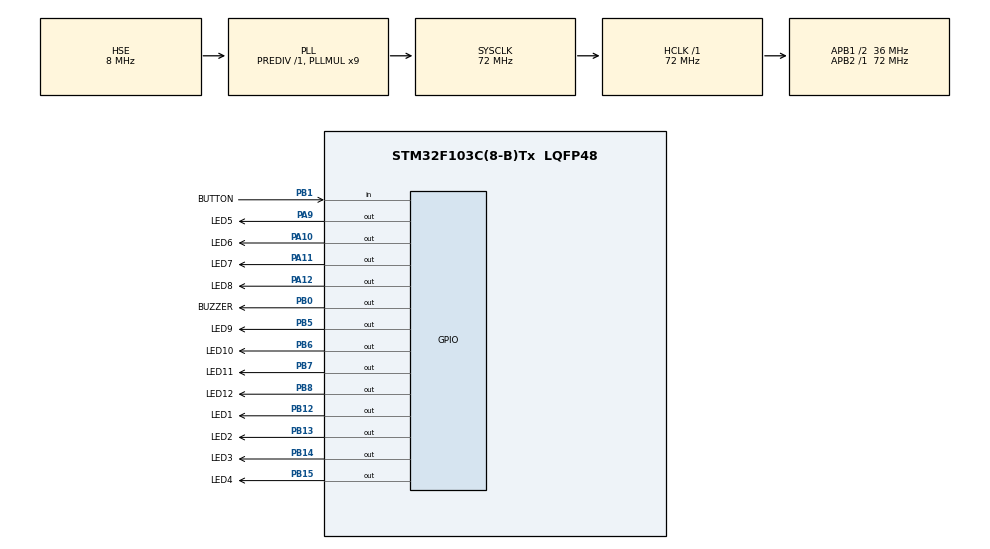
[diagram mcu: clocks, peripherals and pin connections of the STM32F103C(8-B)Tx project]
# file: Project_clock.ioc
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Mcu.Family=STM32F1
Mcu.Name=STM32F103C(8-B)Tx
Mcu.Package=LQFP48
NVIC.PriorityGroup=NVIC_PRIORITYGROUP_4
NVIC.TIM2_IRQn=true\:0\:0\:false\:false\:true\:true\:true
PA10.GPIO_Label=LED6
PA10.GPIO_PuPd=GPIO_PULLDOWN
PA10.Signal=GPIO_Output
PA11.GPIO_Label=LED7
PA11.GPIO_PuPd=GPIO_PULLDOWN
PA11.Signal=GPIO_Output
PA12.GPIO_Label=LED8
PA12.GPIO_PuPd=GPIO_PULLDOWN
PA12.Signal=GPIO_Output
PA13.Mode=Serial_Wire
PA13.Signal=SYS_JTMS-SWDIO
PA14.Mode=Serial_Wire
PA14.Signal=SYS_JTCK-SWCLK
PA9.GPIO_Label=LED5
PA9.GPIO_PuPd=GPIO_PULLDOWN
PA9.Signal=GPIO_Output
PB0.GPIO_Label=BUZZER
PB0.Signal=GPIO_Output
PB1.GPIO_Label=BUTTON
PB1.GPIO_PuPd=GPIO_PULLDOWN
PB1.Signal=GPIO_Input
PB12.GPIO_Label=LED1
PB12.GPIO_PuPd=GPIO_PULLDOWN
PB12.Signal=GPIO_Output
PB13.GPIO_Label=LED2
PB13.GPIO_PuPd=GPIO_PULLDOWN
PB13.Signal=GPIO_Output
PB14.GPIO_Label=LED3
PB14.GPIO_PuPd=GPIO_PULLDOWN
PB14.Signal=GPIO_Output
PB15.GPIO_Label=LED4
PB15.GPIO_PuPd=GPIO_PULLDOWN
PB15.Signal=GPIO_Output
PB5.GPIO_Label=LED9
PB5.GPIO_PuPd=GPIO_PULLDOWN
PB5.Signal=GPIO_Output
PB6.GPIO_Label=LED10
PB6.GPIO_PuPd=GPIO_PULLDOWN
PB6.Signal=GPIO_Output
PB7.GPIO_Label=LED11
PB7.GPIO_PuPd=GPIO_PULLDOWN
PB7.Signal=GPIO_Output
PB8.GPIO_Label=LED12
PB8.GPIO_PuPd=GPIO_PULLDOWN
PB8.Signal=GPIO_Output
PD0-OSC_IN.Mode=HSE-External-Oscillator
PD0-OSC_IN.Signal=RCC_OSC_IN
PD1-OSC_OUT.Mode=HSE-External-Oscillator
PD1-OSC_OUT.Signal=RCC_OSC_OUT
ProjectManager.HeapSize=0x200
ProjectManager.StackSize=0x400
ProjectManager.TargetToolchain=STM32CubeIDE
RCC.AHBFreq_Value=72000000
RCC.APB1CLKDivider=RCC_HCLK_DIV2
RCC.APB1Freq_Value=36000000
RCC.APB1TimFreq_Value=72000000
RCC.APB2Freq_Value=72000000
RCC.APB2TimFreq_Value=72000000
RCC.HCLKFreq_Value=72000000
RCC.PLLMUL=RCC_PLL_MUL9
RCC.PLLSourceVirtual=RCC_PLLSOURCE_HSE
RCC.SYSCLKFreq_VALUE=72000000
RCC.SYSCLKSource=RCC_SYSCLKSOURCE_PLLCLK
RCC.USBFreq_Value=72000000
TIM2.Period=1000-1
TIM2.Prescaler=7200
VP_TIM2_VS_ClockSourceINT.Mode=Internal
board=custom

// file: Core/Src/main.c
/* USER CODE BEGIN Header */
/**
  ******************************************************************************
  * @file           : main.c
  * @brief          : Main program body
  ******************************************************************************
  * @attention
  *
  * <h2><center>&copy; Copyright (c) 2021 STMicroelectronics.
  * All rights reserved.</center></h2>
  *
  * This software component is licensed by ST under BSD 3-Clause license,
  * the "License"; You may not use this file except in compliance with the
  * License. You may obtain a copy of the License at:
  *                        opensource.org/licenses/BSD-3-Clause
  *
  * Created by Miguel A. Murillo
  ******************************************************************************
  */
/* USER CODE END Header */
#include "main.h"

/* USER CODE BEGIN PTD */
typedef struct {
	uint16_t pin[12];
	GPIO_TypeDef * PIO[12];
}GP;
/* USER CODE END PTD */

TIM_HandleTypeDef htim2;

/* USER CODE BEGIN PV */
volatile uint8_t buffer = 0, L = 0;
volatile uint8_t milis = 0;
volatile uint8_t counterM = 1;
volatile uint16_t counterS = 0;
volatile uint16_t counterH = 12;
volatile uint16_t service = 0;
volatile uint32_t reference = 0;
uint8_t ha = 12, ma = 3;

/* USER CODE END PV */

void SystemClock_Config(void);
static void MX_GPIO_Init(void);
static void MX_TIM2_Init(void);
/* USER CODE BEGIN PFP */
uint16_t pulse();
void setLeds(GP *GP);
void timeSet(uint16_t number);
void runMode(GP *PIO);
void setMode(GP *PIO);
void alarmMode(GP *PIO);
void alarm(GP *PIO);
void change(GP *PIO, uint8_t flag);
/* USER CODE END PFP */

/* USER CODE BEGIN 0 */
void HAL_TIM_PeriodElapsedCallback(TIM_HandleTypeDef *htim){
	if(htim->Instance == TIM2){
		buffer++;
		milis++;
		service++;
		if(milis == 10){
			counterS++;
			reference++;
			milis = 0;
		}
		if(counterS == 300){
			counterM++;
			L=0;
			counterS = 0;
		}
		if(counterM == 13){
			counterH++;
			counterM = 1;
		}
		if(counterH == 13)
			counterH = 1;
	}
}
/* USER CODE END 0 */

int main(void)
{
  /* USER CODE BEGIN 1 */
	GP PIO;
  /* USER CODE END 1 */

  /* MCU Configuration--------------------------------------------------------*/

  /* Reset of all peripherals, Initializes the Flash interface and the Systick. */
  HAL_Init();

  /* Configure the system clock */
  SystemClock_Config();

  /* Initialize all configured peripherals */
  MX_GPIO_Init();
  MX_TIM2_Init();
  /* USER CODE BEGIN 2 */
  HAL_TIM_Base_Start_IT(&htim2);
  setLeds(&PIO);
  /* USER CODE END 2 */

  /* Infinite loop */
  /* USER CODE BEGIN WHILE */
  while (1)
  {
	  switch((uint16_t)pulse()){
	  case 0:
		  runMode(&PIO);
		  break;
	  case 1:
		  setMode(&PIO);
	  	  break;
	  case 2:
		  alarmMode(&PIO);
	 	  break;
 	  default:
 		  break;
	  	  }
	  if((ha == counterH) && (ma == counterM) && (L == 0))
		  alarm(&PIO);
    /* USER CODE END WHILE */

  }
}

void SystemClock_Config(void)
{
  RCC_OscInitTypeDef RCC_OscInitStruct = {0};
  RCC_ClkInitTypeDef RCC_ClkInitStruct = {0};

  /** Initializes the RCC Oscillators according to the specified parameters
  * in the RCC_OscInitTypeDef structure.
  */
  RCC_OscInitStruct.OscillatorType = RCC_OSCILLATORTYPE_HSE;
  RCC_OscInitStruct.HSEState = RCC_HSE_ON;
  RCC_OscInitStruct.HSEPredivValue = RCC_HSE_PREDIV_DIV1;
  RCC_OscInitStruct.HSIState = RCC_HSI_ON;
  RCC_OscInitStruct.PLL.PLLState = RCC_PLL_ON;
  RCC_OscInitStruct.PLL.PLLSource = RCC_PLLSOURCE_HSE;
  RCC_OscInitStruct.PLL.PLLMUL = RCC_PLL_MUL9;
  if (HAL_RCC_OscConfig(&RCC_OscInitStruct) != HAL_OK)
  {
    Error_Handler();
  }
  /** Initializes the CPU, AHB and APB buses clocks
  */
  RCC_ClkInitStruct.ClockType = RCC_CLOCKTYPE_HCLK|RCC_CLOCKTYPE_SYSCLK
                              |RCC_CLOCKTYPE_PCLK1|RCC_CLOCKTYPE_PCLK2;
  RCC_ClkInitStruct.SYSCLKSource = RCC_SYSCLKSOURCE_PLLCLK;
  RCC_ClkInitStruct.AHBCLKDivider = RCC_SYSCLK_DIV1;
  RCC_ClkInitStruct.APB1CLKDivider = RCC_HCLK_DIV2;
  RCC_ClkInitStruct.APB2CLKDivider = RCC_HCLK_DIV1;

  if (HAL_RCC_ClockConfig(&RCC_ClkInitStruct, FLASH_LATENCY_2) != HAL_OK)
  {
    Error_Handler();
  }
}

static void MX_TIM2_Init(void)
{

  TIM_ClockConfigTypeDef sClockSourceConfig = {0};
  TIM_MasterConfigTypeDef sMasterConfig = {0};

  htim2.Instance = TIM2;
  htim2.Init.Prescaler = 7200;
  htim2.Init.CounterMode = TIM_COUNTERMODE_UP;
  htim2.Init.Period = 1000-1;
  htim2.Init.ClockDivision = TIM_CLOCKDIVISION_DIV1;
  htim2.Init.AutoReloadPreload = TIM_AUTORELOAD_PRELOAD_DISABLE;
  if (HAL_TIM_Base_Init(&htim2) != HAL_OK)
  {
    Error_Handler();
  }
  sClockSourceConfig.ClockSource = TIM_CLOCKSOURCE_INTERNAL;
  if (HAL_TIM_ConfigClockSource(&htim2, &sClockSourceConfig) != HAL_OK)
  {
    Error_Handler();
  }
  sMasterConfig.MasterOutputTrigger = TIM_TRGO_RESET;
  sMasterConfig.MasterSlaveMode = TIM_MASTERSLAVEMODE_DISABLE;
  if (HAL_TIMEx_MasterConfigSynchronization(&htim2, &sMasterConfig) != HAL_OK)
  {
    Error_Handler();
  }

}

static void MX_GPIO_Init(void)
{
  GPIO_InitTypeDef GPIO_InitStruct = {0};

  /* GPIO Ports Clock Enable */
  __HAL_RCC_GPIOD_CLK_ENABLE();
  __HAL_RCC_GPIOB_CLK_ENABLE();
  __HAL_RCC_GPIOA_CLK_ENABLE();

  /*Configure GPIO pin Output Level */
  HAL_GPIO_WritePin(GPIOB, BUZZER_Pin|LED1_Pin|LED2_Pin|LED3_Pin
                          |LED4_Pin|LED9_Pin|LED10_Pin|LED11_Pin
                          |LED12_Pin, GPIO_PIN_RESET);

  /*Configure GPIO pin Output Level */
  HAL_GPIO_WritePin(GPIOA, LED5_Pin|LED6_Pin|LED7_Pin|LED8_Pin, GPIO_PIN_RESET);

  /*Configure GPIO pin : BUZZER_Pin */
  GPIO_InitStruct.Pin = BUZZER_Pin;
  GPIO_InitStruct.Mode = GPIO_MODE_OUTPUT_PP;
  GPIO_InitStruct.Pull = GPIO_NOPULL;
  GPIO_InitStruct.Speed = GPIO_SPEED_FREQ_LOW;
  HAL_GPIO_Init(BUZZER_GPIO_Port, &GPIO_InitStruct);

  /*Configure GPIO pin : BUTTON_Pin */
  GPIO_InitStruct.Pin = BUTTON_Pin;
  GPIO_InitStruct.Mode = GPIO_MODE_INPUT;
  GPIO_InitStruct.Pull = GPIO_PULLDOWN;
  HAL_GPIO_Init(BUTTON_GPIO_Port, &GPIO_InitStruct);

  /*Configure GPIO pins : LED1_Pin LED2_Pin LED3_Pin LED4_Pin
                           LED9_Pin LED10_Pin LED11_Pin LED12_Pin */
  GPIO_InitStruct.Pin = LED1_Pin|LED2_Pin|LED3_Pin|LED4_Pin
                          |LED9_Pin|LED10_Pin|LED11_Pin|LED12_Pin;
  GPIO_InitStruct.Mode = GPIO_MODE_OUTPUT_PP;
  GPIO_InitStruct.Pull = GPIO_PULLDOWN;
  GPIO_InitStruct.Speed = GPIO_SPEED_FREQ_LOW;
  HAL_GPIO_Init(GPIOB, &GPIO_InitStruct);

  /*Configure GPIO pins : LED5_Pin LED6_Pin LED7_Pin LED8_Pin */
  GPIO_InitStruct.Pin = LED5_Pin|LED6_Pin|LED7_Pin|LED8_Pin;
  GPIO_InitStruct.Mode = GPIO_MODE_OUTPUT_PP;
  GPIO_InitStruct.Pull = GPIO_PULLDOWN;
  GPIO_InitStruct.Speed = GPIO_SPEED_FREQ_LOW;
  HAL_GPIO_Init(GPIOA, &GPIO_InitStruct);

}

/* USER CODE BEGIN 4 */
void setLeds(GP *GP){
	GP->PIO[0] = LED1_GPIO_Port;
	GP->PIO[1] = LED2_GPIO_Port;
	GP->PIO[2] = LED3_GPIO_Port;
	GP->PIO[3] = LED4_GPIO_Port;
	GP->PIO[4] = LED5_GPIO_Port;
	GP->PIO[5] = LED6_GPIO_Port;
	GP->PIO[6] = LED7_GPIO_Port;
	GP->PIO[7] = LED8_GPIO_Port;
	GP->PIO[8] = LED9_GPIO_Port;
	GP->PIO[9] = LED10_GPIO_Port;
	GP->PIO[10]= LED11_GPIO_Port;
	GP->PIO[11]= LED12_GPIO_Port;
	GP->pin[0] = LED1_Pin;
	GP->pin[1] = LED2_Pin;
	GP->pin[2] = LED3_Pin;
	GP->pin[3] = LED4_Pin;
	GP->pin[4] = LED5_Pin;
	GP->pin[5] = LED6_Pin;
	GP->pin[6] = LED7_Pin;
	GP->pin[7] = LED8_Pin;
	GP->pin[8] = LED9_Pin;
	GP->pin[9] = LED10_Pin;
	GP->pin[10]= LED11_Pin;
	GP->pin[11]= LED12_Pin;
}
void runMode(GP *PIO){
	service = 0;
	do{
		HAL_GPIO_WritePin(PIO->PIO[counterH-1], PIO->pin[counterH-1], GPIO_PIN_SET);
		HAL_GPIO_WritePin(PIO->PIO[counterM-1], PIO->pin[counterM-1], GPIO_PIN_SET);
		timeSet(2);
		HAL_GPIO_WritePin(PIO->PIO[counterM-1], PIO->pin[counterM-1], GPIO_PIN_RESET);
		timeSet(2);
	}while(service < 16);
	HAL_GPIO_WritePin(PIO->PIO[counterH-1], PIO->pin[counterH-1], GPIO_PIN_RESET);
	HAL_GPIO_WritePin(PIO->PIO[counterM-1], PIO->pin[counterM-1], GPIO_PIN_RESET);
}
void timeSet(uint16_t number){
	for(buffer=0;buffer<=number;){
	}
}
uint16_t pulse(){
	uint32_t time = 0;
	reference = 0;
	if(HAL_GPIO_ReadPin(BUTTON_GPIO_Port, BUTTON_Pin) == 1){
		time=reference;
		while((HAL_GPIO_ReadPin(BUTTON_GPIO_Port, BUTTON_Pin))==1)
			timeSet(10);
		if((reference-time) <= 2 )
			return 0;
		else if((reference-time) >= 10)
			return 1;
		else if (((reference-time)>=6) && ((reference-time)<=7))
			return 2;
		return 3;
	}
	return 3;
}
void setMode(GP *PIO){
	service = 0;
	do{
		HAL_GPIO_WritePin(BUZZER_GPIO_Port, BUZZER_Pin, GPIO_PIN_SET);
		timeSet(3);
		HAL_GPIO_WritePin(BUZZER_GPIO_Port, BUZZER_Pin, GPIO_PIN_RESET);
		timeSet(3);
	}while(service < 15);
	change(PIO,1);
}
void change(GP *PIO, uint8_t flag){
	uint8_t select = 0, j = 0;
	if(flag == 1){
		while(!j){
			HAL_GPIO_WritePin(PIO->PIO[counterH-1], PIO->pin[counterH-1], GPIO_PIN_SET);
			select = pulse();
			if(select == 0){
				HAL_GPIO_WritePin(PIO->PIO[counterH-1], PIO->pin[counterH-1], GPIO_PIN_RESET);
				HAL_GPIO_WritePin(PIO->PIO[counterH], PIO->pin[counterH], GPIO_PIN_SET);
				counterH++;
			}else if (select == 2){
				j++;
				HAL_GPIO_WritePin(PIO->PIO[counterH-1], PIO->pin[counterH-1], GPIO_PIN_RESET);
			}
			HAL_GPIO_WritePin(PIO->PIO[counterH-1], PIO->pin[counterH-1], GPIO_PIN_RESET);
		}
		j=0;
		service = 0;
		do{
			HAL_GPIO_WritePin(BUZZER_GPIO_Port, BUZZER_Pin, GPIO_PIN_SET);
			timeSet(3);
			HAL_GPIO_WritePin(BUZZER_GPIO_Port, BUZZER_Pin, GPIO_PIN_RESET);
			timeSet(3);
		}while(service < 20);
		while(!j){
			HAL_GPIO_WritePin(PIO->PIO[counterM-1], PIO->pin[counterM-1], GPIO_PIN_SET);
			select = pulse();
			if(select == 0){
				HAL_GPIO_WritePin(PIO->PIO[counterM-1], PIO->pin[counterM-1], GPIO_PIN_RESET);
				HAL_GPIO_WritePin(PIO->PIO[counterM], PIO->pin[counterM], GPIO_PIN_SET);
				counterM++;
			}else if(select == 2){
				j++;
				service = 0;
				HAL_GPIO_WritePin(PIO->PIO[counterM-1], PIO->pin[counterM-1], GPIO_PIN_RESET);
				do{
					HAL_GPIO_WritePin(BUZZER_GPIO_Port, BUZZER_Pin, GPIO_PIN_SET);
				}while(service < 20);
				HAL_GPIO_WritePin(BUZZER_GPIO_Port, BUZZER_Pin, GPIO_PIN_RESET);
			}
			HAL_GPIO_WritePin(PIO->PIO[counterM-1], PIO->pin[counterM-1], GPIO_PIN_RESET);
		}
	}else{
		j=0;
		while(!j){
			if(ha == 13)
				ha = 1;
			HAL_GPIO_WritePin(PIO->PIO[ha-1], PIO->pin[ha-1], GPIO_PIN_SET);
			select = pulse();
			if(select == 0){
				HAL_GPIO_WritePin(PIO->PIO[ha-1], PIO->pin[ha-1], GPIO_PIN_RESET);
				HAL_GPIO_WritePin(PIO->PIO[ha], PIO->pin[ha], GPIO_PIN_SET);
				ha++;
			}else if (select == 2){
				j++;
				HAL_GPIO_WritePin(PIO->PIO[ha-1], PIO->pin[ha-1], GPIO_PIN_RESET);
			}
			HAL_GPIO_WritePin(PIO->PIO[ha-1], PIO->pin[ha-1], GPIO_PIN_RESET);
		}
		j=0;
		service = 0;
		do{
			HAL_GPIO_WritePin(BUZZER_GPIO_Port, BUZZER_Pin, GPIO_PIN_SET);
			timeSet(3);
			HAL_GPIO_WritePin(BUZZER_GPIO_Port, BUZZER_Pin, GPIO_PIN_RESET);
			timeSet(3);
		}while(service < 20);
		while(!j){
			if(ma == 13)
				ma = 1;
			HAL_GPIO_WritePin(PIO->PIO[ma-1], PIO->pin[ma-1], GPIO_PIN_SET);
			select = pulse();
			if(select == 0){
				HAL_GPIO_WritePin(PIO->PIO[ma-1], PIO->pin[ma-1], GPIO_PIN_RESET);
				HAL_GPIO_WritePin(PIO->PIO[ma], PIO->pin[ma], GPIO_PIN_SET);
				ma++;
			}else if(select == 2){
				j++;
				service = 0;
				HAL_GPIO_WritePin(PIO->PIO[ma-1], PIO->pin[ma-1], GPIO_PIN_RESET);
				do{
					HAL_GPIO_WritePin(BUZZER_GPIO_Port, BUZZER_Pin, GPIO_PIN_SET);
				}while(service < 20);
				HAL_GPIO_WritePin(BUZZER_GPIO_Port, BUZZER_Pin, GPIO_PIN_RESET);
			}
			HAL_GPIO_WritePin(PIO->PIO[ma-1], PIO->pin[ma-1], GPIO_PIN_RESET);
		}
	}
}
void alarmMode(GP *PIO){
	service = 0;
	do{
		HAL_GPIO_WritePin(BUZZER_GPIO_Port, BUZZER_Pin, GPIO_PIN_SET);
		timeSet(3);
		HAL_GPIO_WritePin(BUZZER_GPIO_Port, BUZZER_Pin, GPIO_PIN_RESET);
		timeSet(3);
	}while(service < 20);
	change(PIO, 2);
}
void alarm(GP *PIO){
	while(!HAL_GPIO_ReadPin(BUTTON_GPIO_Port, BUTTON_Pin)){
		service = 0;
		//do{
			HAL_GPIO_WritePin(BUZZER_GPIO_Port, BUZZER_Pin, GPIO_PIN_SET);
			timeSet(1);
			HAL_GPIO_WritePin(BUZZER_GPIO_Port, BUZZER_Pin, GPIO_PIN_RESET);
			timeSet(1);
		//}while(service < 20);
	}
	HAL_GPIO_WritePin(BUZZER_GPIO_Port, BUZZER_Pin, GPIO_PIN_RESET);
	L++;
}
/*		for(i=0;i<12;i++)
	 HAL_GPIO_WritePin(ports->ports[i], ports->pos[i], GPIO_PIN_SET);
for(i=0;i<12;i++)
	HAL_GPIO_WritePin(ports->ports[i], ports->pos[i], GPIO_PIN_RESET);*/
/* USER CODE END 4 */

void Error_Handler(void)
{
  __disable_irq();
  while (1)
  {
  }
}

/************************ (C) COPYRIGHT STMicroelectronics *****END OF FILE****/
